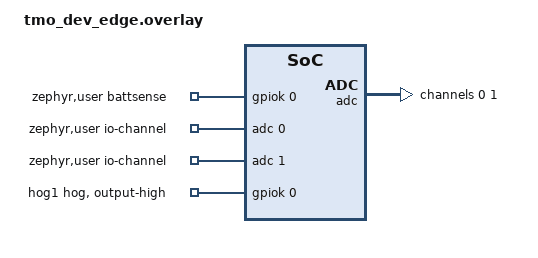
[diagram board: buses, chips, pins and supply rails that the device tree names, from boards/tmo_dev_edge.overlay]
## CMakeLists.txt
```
# Copyright (c) 2022 T-Mobile USA, Inc.
#
# SPDX-License-Identifier: Apache-2.0

cmake_minimum_required(VERSION 3.20.0)

set(ZEPHYR_EXTRA_MODULES "$ENV{ZEPHYR_EXTRA_MODULES};${CMAKE_SOURCE_DIR}/../../")

find_package(Zephyr REQUIRED HINTS $ENV{ZEPHYR_BASE})
project(tmo_shell)

zephyr_include_directories(${BOARD_DIR})

target_include_directories(app PRIVATE ${ZEPHYR_BASE}/subsys/ PRIVATE ${ZEPHYR_BASE}/drivers/modem/)
target_sources(app PRIVATE src/tmo_shell.c)
target_sources(app PRIVATE src/tmo_buzzer.c)
target_sources(app PRIVATE src/tmo_shell_main.c)
target_sources(app PRIVATE src/tmo_web_demo.c)
target_sources(app PRIVATE src/tmo_http_request.c)
target_sources(app PRIVATE src/tmo_dfu_download.c)
target_sources(app PRIVATE src/tmo_file.c)
target_sources(app PRIVATE src/tmo_modem_edrx.c)
target_sources(app PRIVATE src/tmo_modem_psm.c)
target_sources(app PRIVATE src/buzzer_test.c)
target_sources(app PRIVATE src/led_test.c)
target_sources(app PRIVATE src/misc_test.c)
target_sources(app PRIVATE src/tmo_file.c)
target_sources(app PRIVATE src/tmo_adc.c)
target_sources(app PRIVATE src/tmo_bq24250.c)
target_sources(app PRIVATE src/tmo_battery_ctrl.c)
target_sources(app PRIVATE src/tmo_sntp.c)
target_sources(app PRIVATE src/tmo_modem.c)
target_sources(app PRIVATE src/tmo_tone_player.c)
target_sources_ifdef(CONFIG_WIFI app PRIVATE src/tmo_wifi.c)
target_sources_ifdef(CONFIG_BT_SMP app PRIVATE src/tmo_smp.c)
target_sources_ifdef(CONFIG_BT_PERIPHERAL app PRIVATE src/tmo_ble_demo.c)
target_sources_ifdef(CONFIG_BT_PERIPHERAL app PRIVATE src/tmo_gnss.c)
target_sources_ifdef(CONFIG_NET_SOCKETS_SOCKOPT_TLS app PRIVATE src/tmo_certs.c)
target_sources_ifdef(CONFIG_PING app PRIVATE src/tmo_ping.c)
target_sources_ifdef(CONFIG_TMO_HTTP_MOCK_SOCKET app PRIVATE src/tmo_http_mock_socket.c)
target_sources_ifdef(CONFIG_PM_DEVICE app PRIVATE src/tmo_pm.c)
target_sources_ifdef(CONFIG_PM app PRIVATE src/tmo_pm_sys.c)
target_sources_ifdef(CONFIG_FUEL_GAUGE app PRIVATE src/tmo_fuel_gauge.c)

set(gen_dir ${ZEPHYR_BINARY_DIR}/include/generated/)

generate_inc_file_for_target(
    app 
    src/servercert.der
    ${gen_dir}/servercert.der.inc
)

generate_inc_file_for_target(
    app 
    src/devcert.der
    ${gen_dir}/devcert.der.inc
)

generate_inc_file_for_target(
    app 
    src/devkey.der
    ${gen_dir}/devkey.der.inc
)

generate_inc_file_for_target(
    app 
    src/digicert_ca.der
    ${gen_dir}/digicert_ca.der.inc
)

generate_inc_file_for_target(
    app
    src/lets-encrypt-r3.der
    ${gen_dir}/lets-encrypt-r3.der.inc
)

generate_inc_file_for_target(
    app
    src/entrust_g2_ca.der
    ${gen_dir}/entrust_g2_ca.der.inc
)

if(DEFINED CONFIG_TMO_SHELL_BUILD_EK)
	add_subdirectory(src/ek18)
endif()


# zephyr: base upstream version tag used for tmo-main
if(DEFINED ENV{ZEPHYR_BASE_TAG})
	add_compile_definitions(VERSION_ZEPHYR_BASE_TAG="$ENV{ZEPHYR_BASE_TAG}")
else()
	execute_process(
		COMMAND git log --grep "Merge branch 'main' into tmo-main" --max-count 1 --pretty=%H
		WORKING_DIRECTORY ${ZEPHYR_BASE}
		OUTPUT_VARIABLE ZEPHYR_BASE_TAG
		OUTPUT_STRIP_TRAILING_WHITESPACE
	)
	if ("${ZEPHYR_BASE_TAG}" STREQUAL "")
		execute_process(
			COMMAND git log --grep "^Initial commit$" --max-count 1 --pretty=%H
			WORKING_DIRECTORY ${ZEPHYR_BASE}
			OUTPUT_VARIABLE ZEPHYR_BASE_TAG
			OUTPUT_STRIP_TRAILING_WHITESPACE
		)
	endif()
	if ("${ZEPHYR_BASE_TAG}" STREQUAL "")
		set(ZEPHYR_BASE_TAG "UNKNOWN")
	endif()
	message("ZEPHYR_BASE_TAG: ${ZEPHYR_BASE_TAG}")
	add_compile_definitions(VERSION_ZEPHYR_BASE_TAG="${ZEPHYR_BASE_TAG}")
endif()

# tmo-rtos: current version tag in tmo-main
if(DEFINED ENV{TMO_RTOS_TAG})
	add_compile_definitions(VERSION_TMO_RTOS_TAG="$ENV{TMO_RTOS_TAG}")
else()
	execute_process(
		COMMAND git describe --dirty --tags
		WORKING_DIRECTORY ${ZEPHYR_BASE}
		OUTPUT_VARIABLE RAW_TMO_RTOS_TAG
		OUTPUT_STRIP_TRAILING_WHITESPACE
	)
	if ("${RAW_TMO_RTOS_TAG}" STREQUAL "")
		set(RAW_TMO_RTOS_TAG "UNKNOWN")
	endif()
	string(REPLACE "-dirty" "+" TMO_RTOS_TAG ${RAW_TMO_RTOS_TAG})
	message("TMO_RTOS_TAG: ${TMO_RTOS_TAG}")
	add_compile_definitions(VERSION_TMO_RTOS_TAG="${TMO_RTOS_TAG}")
endif()

if(DEFINED ENV{SLOT})
	add_compile_definitions(BOOT_SLOT="$ENV{SLOT}")
endif()

# tmo-sdk: current version tag in tmo-sdk
if(DEFINED ENV{TMO_SDK_TAG})
	add_compile_definitions(VERSION_TMO_SDK_TAG="$ENV{TMO_SDK_TAG}")
else()
	execute_process(
		COMMAND git describe --abbrev=0 --tags
		WORKING_DIRECTORY ${CMAKE_SOURCE_DIR}
		OUTPUT_VARIABLE LATEST_TMO_TAG
		OUTPUT_STRIP_TRAILING_WHITESPACE
	)

	execute_process(
		COMMAND git describe --dirty --always --all --long --match ${LATEST_TMO_TAG}
		WORKING_DIRECTORY ${CMAKE_SOURCE_DIR}
		OUTPUT_VARIABLE RAW_TMO_SDK_TAG
		OUTPUT_STRIP_TRAILING_WHITESPACE
	)
	if ("${RAW_TMO_SDK_TAG}" STREQUAL "")
		set(RAW_TMO_SDK_TAG "UNKNOWN")
	endif()
	string(REPLACE "-dirty" "+" TMO_SDK_TAG ${RAW_TMO_SDK_TAG})
	message("TMO_SDK_TAG: ${TMO_SDK_TAG}")
	add_compile_definitions(VERSION_TMO_SDK_TAG="${TMO_SDK_TAG}")
endif()

add_compile_definitions(VERSION_BOARD="${BOARD}")
```

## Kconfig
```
# Copyright (c) 2022 T-Mobile USA, Inc.
#
# SPDX-License-Identifier: Apache-2.0

mainmenu "tmo_shell application settings"

config TMO_SHELL_SSID
    string "SSID of WiFi network to automatically connect to"
    default ""
 
config TMO_SHELL_PSK
    string "PSK of WiFi network to automatically connect to"
    default ""

config TMO_SHELL_USE_MBED
    bool "Configure HTTP to use mbedTLS for TLS connections"
    default n

config TMO_SHELL_ASYNC_SMS
    bool "Use asynchronous callback for SMS"
    select MODEM_SMS_CALLBACK
    default n

config TMO_SHELL_BUILD_EK
    bool "Build in ekermit"
    select USE_SEGGER_RTT
    default n

config TMO_HTTP_MOCK_SOCKET
    bool "Use mock socket for HTTP unit testing"
    default n

config SEGGER_RTT_BUFFER_SIZE_DOWN
    int
    default 8192 if TMO_SHELL_BUILD_EK

config TMO_FUEL_GAUGE_STATE_CHANGE_PRINT
    bool "Print messages on fuel guage state change"
    default n

config TMO_TEST_MFG_CHECK_GOLDEN
    bool "Check modem type is golden"
    default y

config TMO_TEST_MFG_CHECK_ACCESS_CODE
    bool "Check access code is present"
    default y

source "Kconfig.zephyr"
```

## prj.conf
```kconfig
# Copyright (c) 2022 T-Mobile USA, Inc.
#
# SPDX-License-Identifier: Apache-2.0

# UART support
CONFIG_SERIAL=y
CONFIG_SHELL_BACKEND_SERIAL_RX_RING_BUFFER_SIZE=1024

CONFIG_RING_BUFFER=y
CONFIG_SOC_FLASH_GECKO=y

CONFIG_ADC=y
CONFIG_ADC_SHELL=n
# Enable support for the flash hardware.
CONFIG_FLASH=y
CONFIG_I2C=y

CONFIG_SPI=y
CONFIG_SPI_NOR=y
CONFIG_SPI_GECKO=y

# Murata 1SC modem support
CONFIG_MODEM=y
CONFIG_MODEM_SHELL=y
CONFIG_MODEM_MURATA_1SC=y
CONFIG_MODEM_MURATA_1SC_APN="CATM.T-MOBILE.COM"

# Generic networking options
CONFIG_NETWORKING=y
CONFIG_NET_SHELL=n
CONFIG_NET_NATIVE=n
CONFIG_NET_OFFLOAD=y
CONFIG_NET_IPV6_DAD=n
CONFIG_NET_UDP=y
CONFIG_NET_TCP=y
CONFIG_NET_IPV6=n
CONFIG_NET_IPV4=y
CONFIG_DNS_RESOLVER=n
CONFIG_POSIX_MAX_FDS=15
CONFIG_HTTP_CLIENT=y

# Network management events
CONFIG_NET_CONNECTION_MANAGER=y
CONFIG_NET_MGMT=y
CONFIG_NET_MGMT_EVENT=y

# Debugging
# CONFIG_DEBUG_OPTIMIZATIONS=y

# Logging
CONFIG_LOG=y
CONFIG_NET_LOG=y

CONFIG_CONSOLE_SUBSYS=y
CONFIG_CONSOLE_GETLINE=y

# Network buffers
CONFIG_NET_PKT_RX_COUNT=1
CONFIG_NET_PKT_TX_COUNT=1
CONFIG_NET_BUF_RX_COUNT=1
CONFIG_NET_BUF_TX_COUNT=1
CONFIG_NET_CONTEXT_NET_PKT_POOL=y
CONFIG_NET_BUF_DATA_SIZE=60

# RS9116
CONFIG_WIFI=y
CONFIG_WIFI_RS9116W=y
CONFIG_GPIO=y

#CONFIG_TEST_RANDOM_GENERATOR=y

CONFIG_INIT_STACKS=y

CONFIG_MBEDTLS_DTLS=y

CONFIG_NET_SOCKETS=y
CONFIG_NET_SOCKETS_OFFLOAD=y
CONFIG_NET_SOCKETS_POSIX_NAMES=y
CONFIG_NET_SOCKETS_POLL_MAX=4
CONFIG_NET_SOCKETS_SOCKOPT_TLS=y
CONFIG_NET_SOCKETS_TLS_MAX_CONTEXTS=4
CONFIG_NET_SOCKETS_ENABLE_DTLS=y


# Bluetooth / BLE
CONFIG_BT=y
CONFIG_BT_CUSTOM=y
CONFIG_BT_RS9116W=y
CONFIG_BT_PERIPHERAL=y
CONFIG_BT_SMP=y
CONFIG_BT_MAX_PAIRED=2
CONFIG_BT_DEBUG=n

# Sensors
CONFIG_SENSOR=y
CONFIG_SENSOR_SHELL=y
CONFIG_SENSOR_ASYNC_API=y

# Stack sizes
CONFIG_MAIN_STACK_SIZE=4096
CONFIG_SHELL_STACK_SIZE=4096

# MBED TLS configuration
CONFIG_MBEDTLS=y
CONFIG_MBEDTLS_BUILTIN=y

# CONFIG_NEWLIB_LIBC=y
CONFIG_MINIMAL_LIBC_MALLOC=y
# CONFIG_MINIMAL_LIBC_MALLOC_ARENA_SIZE=2048

# Set number IPv4 network interfaces
CONFIG_NET_IF_MAX_IPV4_COUNT=2
# CONFIG_NET_IF_MAX_IPV6_COUNT=2

#CONFIG_FS_LOG_LEVEL_DBG=y

CONFIG_HEAP_MEM_POOL_SIZE=16384

CONFIG_SHELL=y
CONFIG_SHELL_LOG_LEVEL_INF=y
CONFIG_SHELL_CMD_BUFF_SIZE=2100

CONFIG_FILE_SYSTEM=y
CONFIG_FILE_SYSTEM_SHELL=y
CONFIG_FILE_SYSTEM_LITTLEFS=y

CONFIG_FLASH_MAP=y
CONFIG_FLASH_PAGE_LAYOUT=y

CONFIG_RS9116W_TLS_OFFLOAD=y

CONFIG_TMO_SHELL_SSID=""
CONFIG_TMO_SHELL_PSK=""

CONFIG_RS9116_DNS_SERVER_IP_ADDRESSES=y
CONFIG_RS9116_IPV4_DNS_SERVER1="8.8.8.8"
CONFIG_RS9116_IPV6_DNS_SERVER1="2001:4860:4860::8888"

CONFIG_MODEM_MURATA_1SC_SOCKET_COUNT=4
CONFIG_WISECONNECT_SOCKETS_COUNT=6

CONFIG_SHELL_GETOPT=y
CONFIG_PING=y

CONFIG_MODEM_SMS_IN_MSG_MAX_LEN=200
CONFIG_MODEM_SMS_OUT_MSG_MAX_LEN=200

#Ekermit
CONFIG_SEGGER_RTT_MODE_BLOCK_IF_FIFO_FULL=y
CONFIG_LOG_BACKEND_RTT=n
CONFIG_TMO_SHELL_BUILD_EK=y

#Power Managment
CONFIG_PM=y
CONFIG_PM_DEVICE=y

CONFIG_BT_DEVICE_NAME_DYNAMIC=y
CONFIG_LOG_PRINTK=n

#Test Configs
CONFIG_TMO_TEST_MFG_CHECK_GOLDEN=y
CONFIG_TMO_TEST_MFG_CHECK_ACCESS_CODE=y
CONFIG_DFU_GECKO_LIB=y
```

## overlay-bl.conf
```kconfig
# Copyright (c) 2022 T-Mobile USA, Inc.
#
# SPDX-License-Identifier: Apache-2.0

# mcuboot will relocate the interrupt vector to the booted application
CONFIG_BOOT_INTR_VEC_RELOC=y

# Chain-loadable image will be linked into its code partition, specified in DeviceTree.
CONFIG_USE_DT_CODE_PARTITION=y

# Force the initialization of the internal Cortex-M architectural state during boot
# to the reset values as specified by the corresponding Arm architecture manual.
CONFIG_INIT_ARCH_HW_AT_BOOT=y

# chain-loadable images relocate the Cortex-M vector table by updating the
# VTOR register with the offset of the image vector table.
#CONFIG_CPU_CORTEX_M_HAS_VTOR=y

# Relay exceptions and interrupts based on a vector table pointer that is set by the chain-loadable application.
CONFIG_SW_VECTOR_RELAY=y

# Zephyr will relocate .text, data and .bss sections from the specified files and
# place it in SRAM.
CONFIG_BOOT_DIRECT_XIP=y

CONFIG_SPI=y
```

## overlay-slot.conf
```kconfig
# Copyright (c) 2022 T-Mobile USA, Inc.
#
# SPDX-License-Identifier: Apache-2.0

# Put BOOT LOADER config here ...
CONFIG_BOOTLOADER_MCUBOOT=y

# Chain-loadable image will be linked into its code partition, specified in DeviceTree.
CONFIG_USE_DT_CODE_PARTITION=y

# Force the initialization of the internal Cortex-M architectural state during boot
# to the reset values as specified by the corresponding Arm architecture manual.
CONFIG_INIT_ARCH_HW_AT_BOOT=y

# chain-loadable images relocate the Cortex-M vector table by updating the VTOR register with the offset of the image vector table.
# CONFIG_CPU_CORTEX_M_HAS_VTOR=y

# Relay exceptions and interrupts based on a vector table pointer that is set by the chain-loadable application.
CONFIG_SW_VECTOR_RELAY=y
```

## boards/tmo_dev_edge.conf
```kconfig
# Copyright (c) 2022-2023 T-Mobile USA, Inc.
#
# SPDX-License-Identifier: Apache-2.0

CONFIG_BT_DEVICE_NAME="TMO DevEdge"
CONFIG_POSIX_CLOCK=y
CONFIG_DEVICE_SHELL=y
CONFIG_GPIO_SHELL=y
CONFIG_SOC_GECKO_EMU_DCDC=y
CONFIG_SOC_GECKO_EMU_DCDC_MODE_OFF=y
CONFIG_I2C=y
CONFIG_REBOOT=y
CONFIG_LED=y
CONFIG_LED_PWM=y
CONFIG_LED_SHELL=y
CONFIG_PWM=y
CONFIG_PWM_SHELL=y
CONFIG_PWM_GECKO=y
CONFIG_SENSOR=y
CONFIG_SENSOR_SHELL=y
CONFIG_LPS22HH=y
CONFIG_LIS2DW12=y
CONFIG_TSL2540=y
CONFIG_TMP108=y
CONFIG_CXD5605=y
CONFIG_SPI_NOR_IDLE_IN_DPD=y
```

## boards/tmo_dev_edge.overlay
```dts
/*
 * Copyright (c) 2022 T-Mobile USA, Inc.
 *
 * SPDX-License-Identifier: Apache-2.0
 */
 #include <zephyr/dt-bindings/adc/adc.h>
 #include <zephyr/dt-bindings/gpio/gpio.h>

/ {
	zephyr,user {
		/* adjust channel number according to pinmux in board.dts */
		io-channels = <&adc 0>, <&adc 1>;
        battsense-gpios = <&gpiok 0 GPIO_ACTIVE_HIGH>;
	};
};

&gpiok {
    hog1 {
        gpio-hog;
        gpios = <0 GPIO_ACTIVE_HIGH>;
        output-high;
    };
};

&adc {
	#address-cells = <1>;
	#size-cells = <0>;

	channel@0 {
		reg = <0>;
		zephyr,gain = "ADC_GAIN_1_3";
		zephyr,reference = "ADC_REF_INTERNAL";
		zephyr,acquisition-time = <ADC_ACQ_TIME(ADC_ACQ_TIME_TICKS, 32)>;
		zephyr,resolution = <12>;
	};

	channel@1 {
		reg = <1>;
		zephyr,gain = "ADC_GAIN_1_3";
		zephyr,reference = "ADC_REF_INTERNAL";
		zephyr,acquisition-time = <ADC_ACQ_TIME(ADC_ACQ_TIME_TICKS, 32)>;
		zephyr,resolution = <12>;
	};
};
```

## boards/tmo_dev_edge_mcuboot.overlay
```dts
/*
 * Copyright (c) 2021 T-Mobile USA, Inc.
 *
 * SPDX-License-Identifier: Apache-2.0
 */

/{
chosen {
                zephyr,code-partition = &boot_partition;
        };
};

&flash0 {

    partitions {
		compatible = "fixed-partitions";
		boot_partition: partition@0 {
			reg = <0x00000000 DT_SIZE_K(64)>;
		};
		slot0_partition: partition@10000 {
			reg = <0x00010000 DT_SIZE_K(448)>;
		};
		slot1_partition: partition@80000 {
			reg = <0x00080000 DT_SIZE_K(448)>;
		};
    };
};
```

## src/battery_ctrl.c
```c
/*
 * Copyright (c) 2022 T-Mobile USA, Inc.
 *
 * SPDX-License-Identifier: Apache-2.0
 */

#include <stdint.h>
#include <stdbool.h>
#include <stdlib.h>
#include <stdio.h>
#include <zephyr/devicetree.h>

#if DT_NODE_EXISTS(DT_NODELABEL(bq24250))
#include "bq24250.h"
#endif

#include "battery_ctrl.h"

#define TABLE_LEN 11
#define TABLE_VOLTAGE 0
#define TABLE_PERCENT 1

// 100% value based on actual new battery measurement
static float battery_discharging_tbl [TABLE_LEN][2] = {
	{4.145, 100.0 },
	{4.072, 90.0  },
	{3.992, 80.0  },
	{3.923, 70.0  },
	{3.858, 60.0  },
	{3.806, 50.0  },
	{3.775, 40.0  },
	{3.752, 30.0  },
	{3.729, 20.0  },
	{3.686, 10.0  },
	{3.632,  0.0  }};

// 100% value based on actual new battery measurement
static float battery_charging_tbl [TABLE_LEN][2] = {
	{4.175, 100.0 },
	{4.130, 90.0  },
	{4.071, 80.0  },
	{4.005, 70.0  },
	{3.934, 60.0  },
	{3.886, 50.0  },
	{3.853, 40.0  },
	{3.833, 30.0  },
	{3.800, 20.0  },
	{3.741, 10.0  },
	{3.597,  0.0  }};

bool is_battery_charging()
{
	uint8_t charging;
	uint8_t vbus;
	uint8_t attached;
	uint8_t fault;

	get_battery_charging_status(&charging, &vbus, &attached, &fault);
	return (vbus && charging);
}

float get_remaining_capacity(float battery_voltage)
{
	float (*voltage_capacity_table)[TABLE_LEN][2];
	float high_voltage = 0.0;
	float low_voltage = 0.0;
	uint32_t i;

	if (is_battery_charging())
		voltage_capacity_table = &battery_charging_tbl;
	else
		voltage_capacity_table = &battery_discharging_tbl;

	// check battery voltage limits

	if (battery_voltage >= (*voltage_capacity_table)[0][TABLE_VOLTAGE]) {
		return 100.0;
	}

	if (battery_voltage <= (*voltage_capacity_table)[TABLE_LEN - 1][TABLE_VOLTAGE]) {
		return 0.0;
	}

	// find the table percentage entries that correspond
	// to the voltage and interpolate between the two

	for (i = 1; i < TABLE_LEN; i++) {
		if (battery_voltage > (*voltage_capacity_table)[i][TABLE_VOLTAGE]) {
			high_voltage = (*voltage_capacity_table)[i - 1][TABLE_VOLTAGE];
			low_voltage = (*voltage_capacity_table)[i][TABLE_VOLTAGE];
			break;
		}
	}

	if ((i >= TABLE_LEN) || (high_voltage == low_voltage)) {
		return 0.0;
	}

	float pct_gap = (float) (*voltage_capacity_table)[i-1][TABLE_PERCENT] - (*voltage_capacity_table)[i][TABLE_PERCENT];
	return ((battery_voltage - low_voltage) / (high_voltage - low_voltage) * pct_gap) + (*voltage_capacity_table)[i][TABLE_PERCENT];
}

#if DT_NODE_EXISTS(DT_NODELABEL(pmic))
extern int get_pmic_status(uint8_t *charging, uint8_t *vbus, uint8_t *attached, uint8_t *fault, uint8_t *charge_status);
#endif

int get_battery_charging_status(uint8_t *charging, uint8_t *vbus, uint8_t *attached, uint8_t *fault)
{
#if DT_NODE_EXISTS(DT_NODELABEL(bq24250))
	int status = get_bq24250_status(charging, vbus, attached, fault);
#endif

#if DT_NODE_EXISTS(DT_NODELABEL(pmic))
	uint8_t charge_status;
	int status = get_pmic_status(charging, vbus, attached, fault, &charge_status);
#endif

	return status;
}


void battery_apply_filter(float *bv)
{
	static float s_filtered_capacity = -1;
	static bool s_battery_is_charging = false;
	bool battery_is_charging;
	
	// If there has been a switch between charger and battery, reset the filter
	battery_is_charging = is_battery_charging();
	if (s_battery_is_charging != battery_is_charging) {
		s_battery_is_charging = battery_is_charging;
		s_filtered_capacity = -1;
	}

	if (s_filtered_capacity < 0) {
		s_filtered_capacity = *bv;
	}
	*bv = s_filtered_capacity = s_filtered_capacity * 0.95 + (*bv) * 0.05;
}

uint8_t battery_millivolts_to_percent(uint32_t millivolts) {
	float curBv = get_remaining_capacity((float) millivolts / 1000);
	battery_apply_filter(&curBv);
	return (uint8_t) (curBv + 0.5);
}
```

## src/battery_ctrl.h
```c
/*
 * Copyright (c) 2022 T-Mobile USA, Inc.
 *
 * SPDX-License-Identifier: Apache-2.0
 */

#ifndef TMO_BATTERY_CTRL_H
#define TMO_BATTERY_CTRL_H

#include <stdint.h>

/** Uint : Percentage **/
#define FULL_CHARGED_LV       90
#define HIGH_CHARGED_LV       80
#define LOW_CHARGED_LV        30
#define MIN_CHARGED_LV        10

#define HIGH_BATTERY_LV       60
#define LOW_BATTERY_LV        30

#define PROTECTED_CUT_LV      6

#define CHARGER_STAT_READY    0
#define CHARGER_STAT_INPROG   1
#define CHARGER_STAT_FULL     2
#define CHARGER_STAT_FAULT    3

#define CUR_STAT_UNKNOWN      0
#define CUR_STAT_BATTERY      10
#define CUR_STAT_INPROG       20
#define CUR_STAT_FULL         30
#define CUR_STAT_FAULT        40

bool getBatteryPercent(uint8_t *bv);
float get_remaining_capacity(float battery_voltage);
bool is_battery_charging(void);
int get_battery_charging_status(uint8_t *charging, uint8_t *vbus, uint8_t *attached, uint8_t *fault);

void battery_apply_filter(float *bv);
uint8_t battery_millivolts_to_percent(uint32_t millivolts);

#endif
```

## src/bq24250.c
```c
/*
 * Copyright (c) 2022 T-Mobile USA, Inc.
 *
 * SPDX-License-Identifier: Apache-2.0
 */

#include <stdio.h>
#include <stdlib.h>
#include <string.h>
#include <zephyr/drivers/i2c.h>
#include <zephyr/drivers/gpio.h>
#include <zephyr/sys/byteorder.h>
#include "bq24250.h"

#if DT_NODE_HAS_STATUS(DT_NODELABEL(bq24250), okay)

#define BQ_GPIO_F_NAME               "GPIO_F"
#define BQ_CHARGE_INT                12      /* PF12 - configured here */
#define BQ_CHARGE_CEn                13      /* PF13 - set low in board.c */
#define BQ_ADDRESS                   0x6a

#define ENABLE_HARDWARE              90
#define BQ_INIT                      91
#define BQ_INT_MONITOR               92

#define MAX_BYTES_FOR_REGISTER_INDEX 4
#define MAX_I2C_BYTES                20

#define BQ_CHARGER_FAULT_MODE        3
#define BQ_SLEEP_MODE                3
#define INPUT_FAULT_AND_LDO_LOW_MODE 10

struct drv_data {
	struct gpio_callback gpio_int_cb;
	gpio_flags_t mode;
	int index;
	int aux;
};

static bool restart_setup = false;

/* BQ Battery and Charger Status */
const struct device *gpiof_dev = DEVICE_DT_GET(DT_NODELABEL(gpiof));

static const struct device *i2c1_dev = DEVICE_DT_GET(DT_NODELABEL(i2c1));

/* BQ Battery Charger interrupt callback */
static struct gpio_callback gpio_batt_chrg_cb;
int bq_battery_charge_int_isr_count = 0;
bool bq_battery_charge_int_state_change = false;
uint8_t i2c_read_data[20];

static int i2c_read_to_buffer(uint8_t dev_addr, int reg_addr, uint8_t *buf, uint8_t buf_length)
{
	const struct device *dev;
	uint8_t reg_addr_buf[MAX_BYTES_FOR_REGISTER_INDEX];
	int reg_addr_bytes;
	int ret;

	dev = i2c1_dev;
	if (!dev) {
		printf("I2C: Device driver I2C_1 not found.");
		return -ENODEV;
	}

	reg_addr_bytes = 1;
	sys_put_be32(reg_addr, reg_addr_buf);

	ret = i2c_write_read (dev, dev_addr,
			reg_addr_buf +
			MAX_BYTES_FOR_REGISTER_INDEX - reg_addr_bytes,
			reg_addr_bytes, buf, buf_length);
	if (ret < 0) {
		printf("Failed to read from device: 0x%x", dev_addr);
		return -EIO;
	}
	return 0;
}

int get_bq24250_status(uint8_t *charging, uint8_t *vbus, uint8_t *attached, uint8_t *fault)
{
	int ret = 0;
	uint8_t bq_addr = 0x6a;
	uint8_t rx_len = 1;
	uint8_t bq_reg_0x00= 0x00;
	uint8_t bq_reg_0x00_data;

	ret = i2c_read_to_buffer (bq_addr, bq_reg_0x00, &bq_reg_0x00_data, rx_len);
	if (ret) {
		printf("read_bytes function:Error reading from BQ! error code (%d)\n", ret);
	}

	/* parse the BQ Charge Status or Fault Interrupt that got us here. */
	uint8_t charger_status = ((bq_reg_0x00_data & 0x30) >> 4);
	uint8_t charge_fault_status = (bq_reg_0x00_data & 0x0F);

	*vbus = 0;
	*charging = 0;
	*attached = 0;
	*fault = 0;

	if ((charger_status == 3) && (charge_fault_status > 0 )) {
		*vbus = 0;
		*charging = 0;
		if (charge_fault_status == 8) {
			*attached = 0;
		}
		else {
			*attached = 1;
			*fault = 1;
		}
	}
	else {
		if ((charger_status == 1) && (charge_fault_status == 0)) {
			*vbus = 1;
			*charging = 1;
			*attached = 1;
		}
		else {
			*vbus = 1;
			*charging = 0;
			*attached = 1;
		}
	}
	return ret;
}

static int check_battery_charger_regs(void)
{
	int ret = 0;

	static bool no_vbus = true;

	uint8_t bq_addr = 0x6a;
	uint8_t rx_len = 1;

	uint8_t bq_reg_0x00= 0x00;
	uint8_t bq_reg_0x00_data = 0;

	uint8_t bq_reg_0x01= 0x01;
	uint8_t bq_reg_0x01_data = 0;

	ret = i2c_read_to_buffer (bq_addr, bq_reg_0x00, &bq_reg_0x00_data, rx_len);
	if (ret) {
		printf("i2c read_bytes function:Error reading from BQ! error code (%d)\n", ret);
	}

	ret = i2c_read_to_buffer (bq_addr, bq_reg_0x01, &bq_reg_0x01_data, rx_len);
	if (ret) {
		printf("i2c read_bytes function:Error reading from BQ! error code (%d)\n", ret);
	}

	k_msleep(100);

	ret = i2c_read_to_buffer (bq_addr, bq_reg_0x00, &bq_reg_0x00_data, rx_len);
	if (ret) {
		printf("i2c read_bytes function:Error reading from BQ! error code (%d)\n", ret);
	}

	ret = i2c_read_to_buffer (bq_addr, bq_reg_0x01, &bq_reg_0x01_data, rx_len);
	if (ret) {
		printf("i2c read_bytes function:Error reading from BQ! error code (%d)\n", ret);
	}

	printf("\nReceived a Charge Status or Fault Interrupt callback\n");

	/* parse the BQ Charge Status or Fault Interrupt that got us here. */
	uint8_t charger_status = ((bq_reg_0x00_data & 0x30) >> 4);
	uint8_t charge_fault_status = (bq_reg_0x00_data & 0x0F);

	if ((charger_status == BQ_CHARGER_FAULT_MODE) &&
			((charge_fault_status == BQ_SLEEP_MODE) || (charge_fault_status == INPUT_FAULT_AND_LDO_LOW_MODE)))
	{
		if (!no_vbus) {
			printf("\tCharger VBUS has just been removed!\n");
		}
		else {
			printf("\tCharger VBUS is missing!\n");
		}
		no_vbus = true;
	}
	else
	{
		no_vbus = false;
		switch(charger_status)
		{
			case 0:
				printf("\tCharger is ready to charge!\n");
				break;
			case 1:
				printf("\tCharger is currently charging!\n");
				break;
			case 2:
				printf("\tCharger is done charging!\n");
				break;
			case 3:
				printf("\tCharger is in Fault mode!\n");
				break;
			default:
				break;
		}

		switch(charge_fault_status)
		{
			case 0:
				printf("\tCharger is in normal mode!\n");
				break;
			case 1:
				printf("\tCharger is in Input OVP mode!\n");
				break;
			case 2:
				printf("\tCharger is in Input UVLO mode!\n");
				break;
			case 3:
				printf("\tCharger is in Sleep mode!\n");
				break;
			case 4:
				printf("\tBattery is in Temperature Fault mode!\n");
				break;
			case 5:
				printf("\tBattery is in OVP mode!\n");
				break;
			case 6:
				printf("\tBattery is in Thermal Shutdown mode!\n");
				break;
			case 7:
				printf("\tBattery is in Timer Fault!\n");
				break;
			case 8:
				printf("\tBattery is in No Battery Connected mode - Try reseating the connector!\n");
				break;
			case 9:
				printf("\tBattery is in ISET short mode!\n");
				break;
			case 10:
				printf("\tBattery is in Input Fault and LDO low mode!\n");
				break;
			default:
				break;
		}
	}
	return ret;
}

static void bq_intr_callback(const struct device *port,
		struct gpio_callback *cb, uint32_t pins)
{
	bq_battery_charge_int_isr_count++;
	bq_battery_charge_int_state_change = true;
}

static void bq_thread(void *a, void *b, void *c)
{
	ARG_UNUSED(a);
	ARG_UNUSED(b);
	ARG_UNUSED(c);

	k_msleep(4000);

	printf("%s - thread started\n", __FUNCTION__);
	uint8_t current_state = BQ_INIT;
	int ret;

	memset(i2c_read_data, 0, 20);

	while (1) {
		if (restart_setup) {
			printf("%s - restart_setup\n", __FUNCTION__);
			current_state = ENABLE_HARDWARE;
			restart_setup = false;
		}

		switch (current_state) {
			case BQ_INIT:

				/* Setup and configure the interrupt for BQ_INT */

				if (!gpiof_dev) {
					printf("GPIOF driver error\n");
					return;
				}

				/* Setup GPIO input, and triggers on falling edge. */
				ret = gpio_pin_configure(gpiof_dev, BQ_CHARGE_INT, GPIO_INPUT | GPIO_INT_EDGE_BOTH);
				if (ret) {
					printf("Error configuring GPIO_F %d!\n", BQ_CHARGE_INT);
				}

				gpio_init_callback(&gpio_batt_chrg_cb, bq_intr_callback, BIT(BQ_CHARGE_INT));

				ret = gpio_add_callback(gpiof_dev, &gpio_batt_chrg_cb);
				if (ret) {
					printf("Cannot setup callback!\n");
				}

				ret = gpio_pin_interrupt_configure(gpiof_dev, BQ_CHARGE_INT, GPIO_INPUT | GPIO_INT_EDGE_BOTH);

				if (!device_is_ready(i2c1_dev)) {
					printf("I2C: device is not ready\n");
				}

				k_msleep(1000);

				bq_battery_charge_int_isr_count = 0;
				bq_battery_charge_int_state_change = false;
				memset(i2c_read_data, 0, 10);

				printf("Checking battery and charger state\n");
				check_battery_charger_regs();
				current_state = BQ_INT_MONITOR;

				break;

			case BQ_INT_MONITOR:
				if (bq_battery_charge_int_state_change)
				{
					check_battery_charger_regs();
					bq_battery_charge_int_state_change = false;
				}
				break;
			default:
				break;
		}
		k_msleep(250);
	}
}

#define BQ_NOTIF_THREAD_STACK_SIZE 2048
#define BQ_NOTIF_THREAD_PRIORITY CONFIG_MAIN_THREAD_PRIORITY

K_THREAD_DEFINE(bq_tid, BQ_NOTIF_THREAD_STACK_SIZE,
		bq_thread, NULL, NULL, NULL,
		BQ_NOTIF_THREAD_PRIORITY, 0, 0);
#endif
```

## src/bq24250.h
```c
/*
 * Copyright (c) 2022 T-Mobile USA, Inc.
 *
 * SPDX-License-Identifier: Apache-2.0
 */

#ifndef TMO_BATT_CHARGER_H
#define TMO_BATT_CHARGER_H

int get_bq24250_status(uint8_t *charging, uint8_t *vbus, uint8_t *attached, uint8_t *fault);

#endif
```

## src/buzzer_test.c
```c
/*
 * Copyright (c) 2022 T-Mobile USA, Inc.
 *
 * SPDX-License-Identifier: Apache-2.0
 */

#include <stdio.h>
#include <zephyr/kernel.h>
#include <zephyr/drivers/pwm.h>

#include "tmo_shell.h"
#include "tmo_buzzer.h"

int buzzer_test()
{
	const struct device *buzzer2 = DEVICE_DT_GET(DT_ALIAS(pwm_buzzer));
	int ret = 0;
	ret = pwm_set_frequency(buzzer2, 0, TMO_TUNE_PITCH_LOW);
	if (ret) {
		printf("pwm_set_frequency(buzzer2, 0, TMO_TUNE_PITCH_LOW) - function failed %d \n", ret);
		return (ret);
	}
	k_sleep(K_MSEC(130));
	ret = pwm_set_frequency(buzzer2, 0, 0);
	if (ret) {
		printf("pwm_set_frequency(buzzer2, 0, 0) - function failed %d \n", ret);
		return (ret);
	}
	k_sleep(K_MSEC(20));
	ret = pwm_set_frequency(buzzer2, 0, TMO_TUNE_PITCH_LOW);
	if (ret) {
		printf("pwm_set_frequency(buzzer2, 0, TMO_TUNE_PITCH_LOW) - function failed %d \n", ret);
		return (ret);
	}
	k_sleep(K_MSEC(130));
	ret = pwm_set_frequency(buzzer2, 0, 0);
	if (ret) {
		printf("pwm_set_frequency(buzzer2, 0, 0) - function failed %d \n", ret);
		return (ret);
	}
	k_sleep(K_MSEC(20));
	ret = pwm_set_frequency(buzzer2, 0, TMO_TUNE_PITCH_LOW);
	if (ret) {
		printf("pwm_set_frequency(buzzer2, 0, TMO_TUNE_PITCH_LOW) - function failed %d \n", ret);
		return (ret);
	}
	k_sleep(K_MSEC(130));
	ret = pwm_set_frequency(buzzer2, 0, 0);
	if (ret) {
		printf("pwm_set_frequency(buzzer2, 0, 0) - function failed %d \n", ret);
		return (ret);
	}
	k_sleep(K_MSEC(20));
	ret = pwm_set_frequency(buzzer2, 0, TMO_TUNE_PITCH_HIGH);
	if (ret) {
		printf("pwm_set_frequency(buzzer2, 0, TMO_TUNE_PITCH_HIGH) - function failed %d \n", ret);
		return (ret);
	}
	k_sleep(K_MSEC(130));
	ret = pwm_set_frequency(buzzer2, 0, 0);
	if (ret) {
		printf("pwm_set_frequency(buzzer2, 0, 0) - function failed %d \n", ret);
		return (ret);
	}
	k_sleep(K_MSEC(20));
	ret = pwm_set_frequency(buzzer2, 0, TMO_TUNE_PITCH_LOW);
	if (ret) {
		printf("pwm_set_frequency(buzzer2, 0, TMO_TUNE_PITCH_LOW) - function failed %d \n", ret);
		return (ret);
	}
	k_sleep(K_MSEC(521));
	ret = pwm_set_frequency(buzzer2, 0, 0);
	if (ret) {
		printf("pwm_set_frequency(buzzer2, 0, TMO_TUNE_PITCH_LOW) - function failed %d \n", ret);
		return (ret);
	}
	printf("buzzer_test - function was successful\n");
	return (ret);
}
```

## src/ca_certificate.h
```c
/*
 * Copyright (c) 2018 Nordic Semiconductor ASA
 * Copyright (c) 2022 T-Mobile USA, Inc.
 *
 * SPDX-License-Identifier: Apache-2.0
 */

#ifndef __CA_CERTIFICATE_H__
#define __CA_CERTIFICATE_H__

enum tls_tag {
	CA_CERTIFICATE_TAG = 1,
	CLIENT_CERTIFICATE_TAG,		//in tls_credential.h defined as TLS_CREDENTIAL_SERVER_CERTIFICATE
	CLIENT_KEY_TAG,
	PSK_TAG
};

#define TLS_PEER_HOSTNAME ""

/* This is the same cert as what is found in net-tools/echo-apps-cert.pem file
*/
static const unsigned char dev_certificate[] = {
#include "devcert.der.inc"
};

static const unsigned char dtls_server_cert[] = {
#include "servercert.der.inc"
};

static const unsigned char entrust_g2[] = {
#include "entrust_g2_ca.der.inc"
};

static const unsigned char dev_private_key[] = {
#include "devkey.der.inc"
};

static const unsigned char digicert_ca[] = {
#include "digicert_ca.der.inc"
};

#if defined(CONFIG_MBEDTLS_KEY_EXCHANGE_PSK_ENABLED)
#include CONFIG_NET_SAMPLE_PSK_HEADER_FILE
#endif

#endif /* __CA_CERTIFICATE_H__ */
```

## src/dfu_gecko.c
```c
/*
 * Copyright (c) 2022 T-Mobile USA, Inc.
 *
 * SPDX-License-Identifier: Apache-2.0
 */

/** @file
 * @brief Device Firmware Update (DFU) support for SiLabs Pearl Gecko
 */

/* Only run if syncup wants DFU or if application is not in syncup at all. */
#if !defined(CONFIG_SYNCUP_SDK) || defined(CONFIG_SYNCUP_DFU)

#include <stdio.h>
#include <string.h>
#include <zephyr/kernel.h>
#include <errno.h>
#include <zephyr/device.h>
#include <soc.h>
#include <zephyr/drivers/flash.h>
#include <zephyr/drivers/gpio.h>
#include <zephyr/sys/reboot.h>
#include <zephyr/fs/fs.h>
#include <mbedtls/sha1.h>
#include <zephyr/sys/byteorder.h>

#include "tmo_dfu_download.h"
#include "dfu_gecko.h"

extern const struct device *gecko_flash_dev;

/* Syncup defines some file system operations, copy them */
#ifndef CONFIG_SYNCUP_SDK
static uint8_t mxfer_buf[CONFIG_SYNCUP_FS_READ_BUF_SIZE];

int syncup_fs_stat(const char *file)
{
	struct fs_dirent entry;
	int err;

	err = fs_stat(file, &entry);
	if (err) {
		LOG_ERROR("Could not stat %s, err %d" ENDL, file, err);

		return -1;
	}

	return (entry.type == FS_DIR_ENTRY_FILE) ? entry.size : 0;
}

int syncup_fs_get_file_sha1(const char *file, uint8_t *out, uint8_t out_len)
{
	mbedtls_sha1_context gecko_sha1_ctx = {0};
	int ret;

	if (out_len < 20) {
		ret = -1;
		goto end_nofile;
	}

	/* Init the sha1 checksum */
	mbedtls_sha1_init(&gecko_sha1_ctx);
	memset(out, 0, 20);
	mbedtls_sha1_starts(&gecko_sha1_ctx);

	struct fs_file_t zfp_src;
	fs_file_t_init(&zfp_src);
	ret = fs_open(&zfp_src, file, FS_O_READ);
	if (ret) {
		LOG_ERROR("cannot open %s" ENDL, file);
		goto end_nofile;
	}

	while (1) {
		ret = fs_read(&zfp_src, mxfer_buf, CONFIG_SYNCUP_FS_READ_BUF_SIZE);
		if (ret < 0) {
			LOG_ERROR("Error reading from %s" ENDL, file);
			goto end;
		} else if (ret) {
			mbedtls_sha1_update(&gecko_sha1_ctx, (unsigned char *)mxfer_buf, ret);
		} else {
			mbedtls_sha1_finish(&gecko_sha1_ctx, out);
			break;
		}
	}
	ret = 0;
end:
	fs_close(&zfp_src);
end_nofile:
	return ret;
}
#else
/* Syncup internal logging */
#include "logging.h"
LOGGER_MODULE(SYNCUP_DFU_API_GECKO);
#endif

/* Needed by tmo_dfu_download.c */
const struct dfu_file_t dfu_files_mcu[] = {
	{"Gecko MCU 1/4",
	 "/tmo/zephyr.slot0.bin",
	 "tmo_shell.tmo_dev_edge.slot0.bin",
	 {0x00, 0x00, 0x00, 0x00, 0x00, 0x00, 0x00, 0x00, 0x00, 0x00,
	  0x00, 0x00, 0x00, 0x00, 0x00, 0x00, 0x00, 0x00, 0x00, 0x00}},
	{"Gecko MCU 2/4",
	 "/tmo/zephyr.slot1.bin",
	 "tmo_shell.tmo_dev_edge.slot1.bin",
	 {0x00, 0x00, 0x00, 0x00, 0x00, 0x00, 0x00, 0x00, 0x00, 0x00,
	  0x00, 0x00, 0x00, 0x00, 0x00, 0x00, 0x00, 0x00, 0x00, 0x00}},
	{"Gecko MCU 3/4",
	 "/tmo/zephyr.slot0.bin.sha1",
	 "tmo_shell.tmo_dev_edge.slot0.bin.sha1",
	 {0x00, 0x00, 0x00, 0x00, 0x00, 0x00, 0x00, 0x00, 0x00, 0x00,
	  0x00, 0x00, 0x00, 0x00, 0x00, 0x00, 0x00, 0x00, 0x00, 0x00}},
	{"Gecko MCU 4/4",
	 "/tmo/zephyr.slot1.bin.sha1",
	 "tmo_shell.tmo_dev_edge.slot1.bin.sha1",
	 {0x00, 0x00, 0x00, 0x00, 0x00, 0x00, 0x00, 0x00, 0x00, 0x00,
	  0x00, 0x00, 0x00, 0x00, 0x00, 0x00, 0x00, 0x00, 0x00, 0x00}},

	{"", "", "", ""}};

static char *slot_file_name[2][2] = {{CONFIG_SYNCUP_DFU_SLOT0_FILE, CONFIG_SYNCUP_DFU_SLOT0_SHA1},
				     {CONFIG_SYNCUP_DFU_SLOT1_FILE, CONFIG_SYNCUP_DFU_SLOT1_SHA1}};

static uint8_t image_buffer[CONFIG_SYNCUP_DFU_CHUNK_SIZE] = {0};
static uint8_t check_buf[CONFIG_SYNCUP_DFU_CHUNK_SIZE + 1];
static unsigned char sha1_output[SHA1_LEN];

/**
 * @brief Compare 2 slot versions from header info
 *
 * @param slot0_ver The first version to compare
 * @param slot1_ver The second version to compare
 * @return int 0 if slot0_ver is newer or versions are equal, 1 if slot1_ver is newer.
 */
static int slot_version_cmp(struct image_version *slot0_ver, struct image_version *slot1_ver)
{
	/* Compare major version numebrs */
	if (slot0_ver->iv_major > slot1_ver->iv_major) {
		return 0;
	}

	if (slot0_ver->iv_major < slot1_ver->iv_major) {
		return 1;
	}

	/* The major version numbers are equal, compare minor */
	if (slot0_ver->iv_minor > slot1_ver->iv_minor) {
		return 0;
	}

	if (slot0_ver->iv_minor < slot1_ver->iv_minor) {
		return 1;
	}

	/* The minor version numbers are equal, compare revision */
	if (slot0_ver->iv_revision > slot1_ver->iv_revision) {
		return 0;
	}

	if (slot0_ver->iv_revision < slot1_ver->iv_revision) {
		return 1;
	}

	/* The two are equal */
	return 0;
}

/* Convert the desired type to system endianness and icnrement the buffer. This is just a wrapper to
 * avoid writing the following a ton of times: sys_le32_to_cpu(*((uint32_t*)var));
 * var=((uint8_t*)var)+sizeof(uint32_t);
 */
#define POP(var, sz)                                                                               \
	sys_le##sz##_to_cpu(*((uint##sz##_t *)var));                                               \
	var = ((uint8_t *)var) + sizeof(uint##sz##_t);

/**
 * @brief Deserialize the magic header once read from flash
 *
 * @param dst The dest structure to write into
 * @param read_buf The buffer read from flash
 */
static void deserialize_magic_hdr(struct image_header *dst, uint8_t *read_buf)
{
	if (!dst || !read_buf) {
		return;
	}

	dst->ih_magic = POP(read_buf, 32);
	dst->ih_load_addr = POP(read_buf, 32);
	dst->ih_hdr_size = POP(read_buf, 16);
	dst->ih_protect_tlv_size = POP(read_buf, 16);
	dst->ih_img_size = POP(read_buf, 32);
	dst->ih_flags = POP(read_buf, 32);

	dst->ih_ver.iv_major = read_buf[0];
	read_buf++;
	dst->ih_ver.iv_minor = read_buf[0];
	read_buf++;
	dst->ih_ver.iv_revision = POP(read_buf, 16);
	dst->ih_ver.iv_build_num = POP(read_buf, 32);
}

#undef POP

/**
 * @brief Get the oldest slot number, invalid slots are always considered the oldest, choses 0 if a
 * tie
 *
 * @return int 0 or 1 if a determination could be made, -1 otherwise
 */
int get_oldest_slot()
{
	struct image_header slot0_hdr;
	struct image_header slot1_hdr;
	uint8_t read_buf[CONFIG_SYNCUP_DFU_IMAGE_HDR_LEN];
	bool slot0_has_image = false;
	bool slot1_has_image = false;
	int oldest_slot = 0;

	flash_read(gecko_flash_dev, CONFIG_SYNCUP_DFU_SLOT0_FLASH_ADDR, read_buf,
		   CONFIG_SYNCUP_DFU_IMAGE_HDR_LEN);
	deserialize_magic_hdr(&slot0_hdr, read_buf);

	flash_read(gecko_flash_dev, CONFIG_SYNCUP_DFU_SLOT1_FLASH_ADDR, read_buf,
		   CONFIG_SYNCUP_DFU_IMAGE_HDR_LEN);
	deserialize_magic_hdr(&slot1_hdr, read_buf);

	if (slot0_hdr.ih_magic == CONFIG_SYNCUP_DFU_IMAGE_MAGIC) {
		LOG_DEBUG("%s Slot 0 FW Version = %u.%u.%u+%u" ENDL, CONFIG_SYNCUP_MCU_NAME,
			  slot0_hdr.ih_ver.iv_major, slot0_hdr.ih_ver.iv_minor,
			  slot0_hdr.ih_ver.iv_revision, slot0_hdr.ih_ver.iv_build_num);
		slot0_has_image = true;
		oldest_slot = 1;
	} else {
		LOG_DEBUG("No bootable image/version found for %s slot 0\n",
			  CONFIG_SYNCUP_MCU_NAME);
	}

	if (slot1_hdr.ih_magic == CONFIG_SYNCUP_DFU_IMAGE_MAGIC) {
		LOG_DEBUG("%s Slot 1 FW Version = %u.%u.%u+%u" ENDL, CONFIG_SYNCUP_MCU_NAME,
			  slot1_hdr.ih_ver.iv_major, slot1_hdr.ih_ver.iv_minor,
			  slot1_hdr.ih_ver.iv_revision, slot1_hdr.ih_ver.iv_build_num);
		slot1_has_image = true;
		oldest_slot = 0;
	} else {
		LOG_DEBUG("No bootable image/version found for %s slot 1" ENDL,
			  CONFIG_SYNCUP_MCU_NAME);
	}

	if (slot0_has_image && slot1_has_image) {
		LOG_DEBUG("%s slot 0 and slot 1 contain a bootable active image" ENDL,
			  CONFIG_SYNCUP_MCU_NAME);
		oldest_slot = slot_version_cmp(&slot0_hdr.ih_ver, &slot1_hdr.ih_ver);
		if (oldest_slot < 0) {
			return -1;
		}
		/* The given function finds the *newest* version, flip that */
		oldest_slot = (oldest_slot == 1) ? 0 : 1;
	} else if (!slot0_has_image && !slot1_has_image) {
		/* This should never happen and usually means no bootloader or an invalid image is
		 * running. */
		LOG_ERROR("No valid %s slots found, defaulting to slot 0 (S0 magic: %zu, S1 magic: "
			  "%zu)" ENDL,
			  CONFIG_SYNCUP_MCU_NAME, slot0_hdr.ih_magic, slot1_hdr.ih_magic);
		/* TODO Return whichever slot is not being used. */
		oldest_slot = 0;
	}

	return oldest_slot;
}

/* Convert SHA1 ASCII hex to binary */
static void sha_hex_to_bin(char *sha_hex_in, char *sha_bin_out, int len)
{
	size_t i;
	char sha_ascii;
	unsigned char tempByte;

	for (i = 0; i < len; i++) {
		sha_ascii = *sha_hex_in;
		if (sha_ascii >= 97) {
			tempByte = sha_ascii - 97 + 10;
		} else if (sha_ascii >= 65) {
			tempByte = sha_ascii - 65 + 10;
		} else {
			tempByte = sha_ascii - 48;
		}

		/* In this ascii to binary encode, loop implementation
		 * the even SHA1 ascii characters are processed in the first pass,
		 * and the odd SHA1 characters are processed in the second pass
		 * of the current output byte
		 */
		if (i % 2 == 0) {
			sha_bin_out[i / 2] = tempByte << 4;
		} else {
			sha_bin_out[i / 2] |= tempByte;
		}
		sha_hex_in++;
	}
}

// This function gets the sha1 of the Gecko zephyr firmware
/**
 * @brief Check a sha1 files contents against a SHA1 byte stream
 *
 * @param gecko_sha1_file The file that contains a sha1 sum (as ASCII text)
 * @param gecko_sha1_output The buffer to compare against
 * @return true If the hashes match
 * @return false If the hashes do not match or on error
 */
static bool check_fw_sha1(struct fs_file_t *gecko_sha1_file, uint8_t *gecko_sha1_output)
{
	bool sha1_fail = false;
	uint8_t gecko_expected_sha1[SHA1_LEN * 2];
	uint8_t gecko_expected_sha1_final[SHA1_LEN];
	int readbytes;

	readbytes = fs_read(gecko_sha1_file, gecko_expected_sha1, SHA1_LEN * 2);
	if ((readbytes < 0) || (readbytes != SHA1_LEN * 2)) {
		LOG_ERROR("Could not read sha1 file" ENDL);

		return false;
	}

	sha_hex_to_bin(gecko_expected_sha1, gecko_expected_sha1_final, SHA1_LEN * 2);

	for (int i = 0; i < SHA1_LEN; i++) {
		if (gecko_sha1_output[i] != gecko_expected_sha1_final[i]) {
			sha1_fail = true;
			break;
		}
	}

	return !sha1_fail;
}

/**
 * @brief Writes an image chunk to flash, keeping track of prior writes and writing to the next
 * unwritten address
 *
 * @param num_bytes How many bytes to write
 * @param buf The data buffer to write
 * @param slot_sector The starting sector
 * @param reset True to reset the write counter and exist (no write will be performed)
 * @return int Bytes written on success, -err on failure
 */
static int write_image_chunk_to_flash(int num_bytes, uint8_t *buf, uint32_t slot_sector, bool reset)
{
	static uint32_t page = 0;

	if (reset) {
		page = 0;

		return 0;
	}

	uint32_t page_addr = slot_sector + (page * CONFIG_SYNCUP_DFU_CHUNK_SIZE);

	page++;

	if (flash_erase(gecko_flash_dev, page_addr, CONFIG_SYNCUP_DFU_CHUNK_SIZE) != 0) {
		LOG_ERROR(ENDL "Gecko 2K page erase failed" ENDL);
	}

	/* This will also zero pad out the last 2K page write with the image remainder bytes. */
	if (flash_write(gecko_flash_dev, page_addr, buf, CONFIG_SYNCUP_DFU_CHUNK_SIZE) != 0) {
		LOG_ERROR(ENDL "Gecko flash write internal ERROR!" ENDL);

		return -EIO;
	}

	flash_read(gecko_flash_dev, page_addr, check_buf, num_bytes);
	if (memcmp(buf, check_buf, num_bytes) != 0) {
		LOG_ERROR(ENDL "Gecko flash erase-write-read ERROR!" ENDL);

		return -EIO;
	}

	return 0;
}

/**
 * @brief Writes a chunk of a file to flash
 *
 * @param geckofile A file handler to read from
 * @param slot The slot to write into in flash
 * @param len The maximum length of the transfer
 * @return int number of bytes written on success, -1 on failure. Should only return less than len
 * on the final call
 */
static int file_chunk_to_flash(struct fs_file_t *geckofile, int slot, size_t len)
{
	int readbytes = fs_read(geckofile, image_buffer, len);

	if (readbytes < 0) {
		return -1;
	}

	if (readbytes > 0) {
		if (slot == 0) {
			write_image_chunk_to_flash(readbytes, image_buffer,
						   CONFIG_SYNCUP_DFU_SLOT0_FLASH_ADDR, false);
		} else {
			write_image_chunk_to_flash(readbytes, image_buffer,
						   CONFIG_SYNCUP_DFU_SLOT1_FLASH_ADDR, false);
		}
	}

	return readbytes;
}

int dfu_gecko_write_image(int slot_to_upgrade)
{
	struct fs_file_t geckofile = {0};
	struct fs_file_t gecko_sha1_file = {0};
	int status = 0;
	int readbytes = 0;
	int totalreadbytes = 0;
	uint32_t chunk_cnt = 0, chunk_check = 0, fw_image_size = 0;

	/* Open the firmware and sha1 files */
	if (fs_open(&geckofile, slot_file_name[slot_to_upgrade][FILE_FW], FS_O_READ) != 0) {
		LOG_ERROR("The Gecko FW file %s is missing" ENDL,
			  slot_file_name[slot_to_upgrade][FILE_FW]);

		goto end;
	}

	if (fs_open(&gecko_sha1_file, slot_file_name[slot_to_upgrade][FILE_SHA1], FS_O_READ) != 0) {
		LOG_ERROR("The SHA1 digest file %s is missing" ENDL,
			  slot_file_name[slot_to_upgrade][FILE_SHA1]);

		goto end_close_fw;
	}

	/* Reset the writing process */
	write_image_chunk_to_flash(0, NULL, 0, true);

	/* STAGE 1: Set up */
	LOG_INFO("GECKO FW update started" ENDL);
	memset(sha1_output, 0, sizeof(sha1_output));

	/* STAGE 2: Verify files and write to flash */
	fw_image_size = syncup_fs_stat(slot_file_name[slot_to_upgrade][FILE_FW]);
	if ((fw_image_size == 0) || (fw_image_size < CONFIG_SYNCUP_DFU_CHUNK_SIZE)) {
		LOG_ERROR("ERROR  - GECKO FW is too small" ENDL);
		status = -1;
		goto end_closefiles;
	}

	/* Compute the sha1 hash of the slot file */
	status = syncup_fs_get_file_sha1(slot_file_name[slot_to_upgrade][FILE_FW], sha1_output,
					 sizeof(sha1_output));
	if (status) {
		LOG_ERROR("Could not get file sha1 for %s, err=%d" ENDL,
			  slot_file_name[slot_to_upgrade][FILE_FW], status);
	}

	/* Compare the computed sha1 to the sha1 file*/
	bool sha1_is_good = check_fw_sha1(&gecko_sha1_file, sha1_output);
	if (!sha1_is_good) {
		LOG_ERROR("Failed to match SHA1" ENDL);
		status = -1;
		goto end_closefiles;
	}

	/* Calculate the total number of chunks */
	chunk_check = (fw_image_size / CONFIG_SYNCUP_DFU_CHUNK_SIZE);
	if (fw_image_size % CONFIG_SYNCUP_DFU_CHUNK_SIZE) {
		chunk_check += 1;
	}

	LOG_INFO("image_size = %d, num of 2048 chunks = %d" ENDL, fw_image_size, chunk_check);
	/* TODO Implement a read FS API that is useful here and eliminate the need for any file
	 * pointer ops in this interface */
	fs_seek(&geckofile, 0, FS_SEEK_SET);

	/* Loop until all the chunks are read and written */
	for (int i = 0; i < chunk_check; i++) {
		/* Write the next chunk to flash */
		readbytes = file_chunk_to_flash(&geckofile, slot_to_upgrade,
						CONFIG_SYNCUP_DFU_CHUNK_SIZE);

		if (readbytes <= 0) {
			LOG_ERROR("Something failed to flash" ENDL);
			status = -1;
			goto end_closefiles;
		}

		/* A partial transfer is an error unless its the last chunk
		 * TODO Can this ever happen under normal conditions? If so handle the error without
		 * failing*/
		if (readbytes != CONFIG_SYNCUP_DFU_CHUNK_SIZE && i != (chunk_check - 1)) {
			LOG_ERROR("Incomplete chunk written to flash %d/%d" ENDL, readbytes,
				  CONFIG_SYNCUP_DFU_CHUNK_SIZE);
			status = -1;
			goto end_closefiles;
		}

		totalreadbytes += readbytes;
		memset(image_buffer, 0, sizeof(image_buffer));
		LOG_DEBUG("Chunk %d Wrote %d bytes (%d/%d)" ENDL, chunk_cnt, readbytes,
			  totalreadbytes, fw_image_size);
		chunk_cnt++;
	}

	/* STAGE 3: Clean up and reboot */
	fs_close(&geckofile);
	fs_close(&gecko_sha1_file);

	LOG_DEBUG("\ttotal bytes read       = %d bytes" ENDL, totalreadbytes);
	LOG_DEBUG("GECKO FW update has completed - rebooting now" ENDL);
	k_sleep(K_SECONDS(3));
	sys_reboot(SYS_REBOOT_COLD);

end_closefiles:
	fs_close(&gecko_sha1_file);
end_close_fw:
	fs_close(&geckofile);
end:

	return status;
}

int get_gecko_fw_version(void)
{
	return get_oldest_slot() == -1 ? -1 : 0;
}

int dfu_mcu_firmware_upgrade(int slot_to_upgrade)
{
	int ret = 0;
	printf("*** Performing the Pearl Gecko FW update ***\n");
	ret = dfu_gecko_write_image(slot_to_upgrade);
	return ret;
}
#endif /* CONFIG_SYNCUP_DFU */
```

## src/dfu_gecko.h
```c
/*
 * Copyright (c) 2022 T-Mobile USA, Inc.
 *
 * SPDX-License-Identifier: Apache-2.0
 */

#ifndef DFU_GECKO_H
#define DFU_GECKO_H

#include <stdint.h>

int dfu_mcu_firmware_upgrade(int slot_to_upgrade);
int32_t dfu_gecko_write_image(int slot_to_upgrade);
int get_oldest_slot(void);

/*
 * This file along with dfu_gecko.c is being jointly used by DevEdge for example purposes and Syncup SDK
 * for production purposes. The idea is to have a single place for Syncup to get updates and fixed from DevEdge.
 * As such the code is written in a way to function in both environments.
 */
#ifndef CONFIG_SYNCUP_SDK
#define CONFIG_SYNCUP_DFU_IMAGE_HDR_LEN 	32
#define CONFIG_SYNCUP_DFU_SLOT0_FLASH_ADDR 	0x10000
#define CONFIG_SYNCUP_DFU_SLOT1_FLASH_ADDR 	0x80000
#define CONFIG_SYNCUP_DFU_IMAGE_MAGIC 		0x96f3b83d
#define CONFIG_SYNCUP_MCU_NAME 				"Pearl Gecko"
#define CONFIG_SYNCUP_DFU_CHUNK_SIZE 		2048UL

#define CONFIG_SYNCUP_DFU_SLOT0_FILE "/tmo/zephyr.slot0.bin"
#define CONFIG_SYNCUP_DFU_SLOT1_FILE "/tmo/zephyr.slot1.bin"
#define CONFIG_SYNCUP_DFU_SLOT0_SHA1 "/tmo/zephyr.slot0.bin.sha1"
#define CONFIG_SYNCUP_DFU_SLOT1_SHA1 "/tmo/zephyr.slot1.bin.sha1"

#define CONFIG_SYNCUP_FS_READ_BUF_SIZE 4096

#define LOG_INFO printf
#define LOG_DEBUG printf
#define LOG_ERROR printf
#define LOG_WARN printf
#define ENDL "\n"
#else
#define ENDL ""
#endif

#define FILE_FW      0
#define FILE_SHA1    1
#define SHA1_LEN     20

struct image_version {
    uint8_t  iv_major;
    uint8_t  iv_minor;
    uint16_t iv_revision;
    uint32_t iv_build_num;
};

/** Image header. All fields are in little endian byte order. */
struct image_header {
    uint32_t             ih_magic;
    uint32_t             ih_load_addr;
    uint16_t             ih_hdr_size;           /* Size of image header (bytes). */
    uint16_t             ih_protect_tlv_size;   /* Size of protected TLV area (bytes). */
    uint32_t             ih_img_size;           /* Does not include header. */
    uint32_t             ih_flags;              /* IMAGE_F_[...]. */
    struct image_version ih_ver;
};

#endif
```

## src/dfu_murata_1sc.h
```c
/*
 * Copyright (c) 2022 T-Mobile USA, Inc.
 *
 * SPDX-License-Identifier: Apache-2.0
 */

#ifndef DFU_MURATA_1SC_H
#define DFU_MURATA_1SC_H

#include <stdint.h>
#include "tmo_dfu_download.h"

#define DFU_MODEM_FW_VER_SIZE 32
#define UA_HEADER_SIZE 256

uint32_t murata_1sc_crc32_update(uint32_t crc32, const uint8_t *data, size_t len);
uint32_t murata_1sc_crc32_finish(uint32_t crc32, size_t len);

int dfu_modem_get_version(char *dfu_murata_version_str);
int dfu_modem_firmware_upgrade(const struct dfu_file_t *dfu_file);

#endif
```

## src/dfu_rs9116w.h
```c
/*
 * Copyright (c) 2022 T-Mobile USA, Inc.
 *
 * SPDX-License-Identifier: Apache-2.0
 */

#ifndef DFU_RS9116W_H
#define DFU_RS9116W_H

#define DFU_RS9116W_FW_VER_SIZE 20

int dfu_wifi_firmware_upgrade(void);
int32_t dfu_wifi_write_image(void);
int dfu_wifi_get_version(char *rsi_fw_version);

#endif
```
